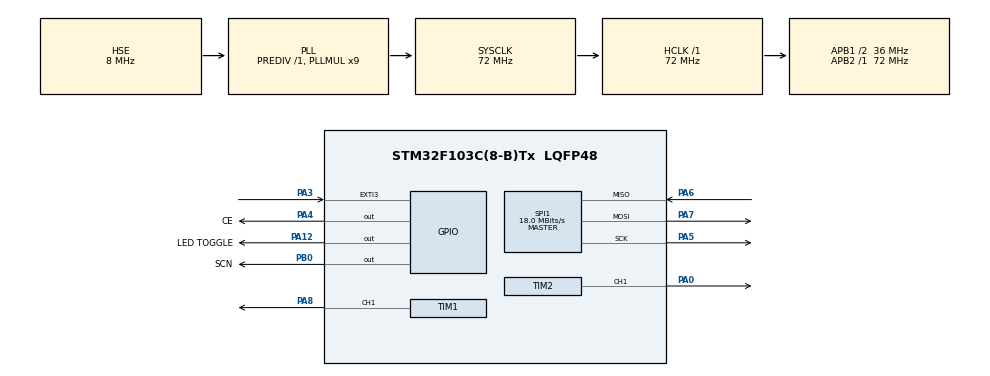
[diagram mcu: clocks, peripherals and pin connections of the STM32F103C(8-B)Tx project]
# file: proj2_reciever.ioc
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Mcu.Family=STM32F1
Mcu.Name=STM32F103C(8-B)Tx
Mcu.Package=LQFP48
NVIC.EXTI3_IRQn=true\:0\:0\:false\:false\:true\:true\:true
NVIC.PriorityGroup=NVIC_PRIORITYGROUP_4
PA0-WKUP.Signal=S_TIM2_CH1_ETR
PA12.GPIO_Label=LED TOGGLE
PA12.Signal=GPIO_Output
PA13.Mode=Trace_Asynchronous_SW
PA13.Signal=SYS_JTMS-SWDIO
PA14.Mode=Trace_Asynchronous_SW
PA14.Signal=SYS_JTCK-SWCLK
PA3.GPIO_ModeDefaultEXTI=GPIO_MODE_IT_FALLING
PA3.Signal=GPXTI3
PA4.GPIO_Label=CE
PA4.Signal=GPIO_Output
PA5.Mode=Full_Duplex_Master
PA5.Signal=SPI1_SCK
PA6.Mode=Full_Duplex_Master
PA6.Signal=SPI1_MISO
PA7.Mode=Full_Duplex_Master
PA7.Signal=SPI1_MOSI
PA8.Signal=S_TIM1_CH1
PB0.GPIO_Label=SCN
PB0.Signal=GPIO_Output
PB3.Mode=Trace_Asynchronous_SW
PB3.Signal=SYS_JTDO-TRACESWO
PD0-OSC_IN.Mode=HSE-External-Oscillator
PD0-OSC_IN.Signal=RCC_OSC_IN
PD1-OSC_OUT.Mode=HSE-External-Oscillator
PD1-OSC_OUT.Signal=RCC_OSC_OUT
ProjectManager.HeapSize=0x200
ProjectManager.StackSize=0x400
ProjectManager.TargetToolchain=STM32CubeIDE
RCC.AHBFreq_Value=72000000
RCC.APB1CLKDivider=RCC_HCLK_DIV2
RCC.APB1Freq_Value=36000000
RCC.APB1TimFreq_Value=72000000
RCC.APB2Freq_Value=72000000
RCC.APB2TimFreq_Value=72000000
RCC.HCLKFreq_Value=72000000
RCC.PLLMUL=RCC_PLL_MUL9
RCC.PLLSourceVirtual=RCC_PLLSOURCE_HSE
RCC.SYSCLKFreq_VALUE=72000000
RCC.SYSCLKSource=RCC_SYSCLKSOURCE_PLLCLK
RCC.USBFreq_Value=72000000
SH.S_TIM1_CH1.0=TIM1_CH1,PWM Generation1 CH1
SH.S_TIM2_CH1_ETR.0=TIM2_CH1,PWM Generation1 CH1
SPI1.BaudRatePrescaler=SPI_BAUDRATEPRESCALER_4
SPI1.CalculateBaudRate=18.0 MBits/s
SPI1.Direction=SPI_DIRECTION_2LINES
SPI1.Mode=SPI_MODE_MASTER
SPI1.VirtualType=VM_MASTER
TIM1.Channel-PWM\ Generation1\ CH1=TIM_CHANNEL_1
TIM1.Prescaler=72-1
TIM2.Channel-PWM\ Generation1\ CH1=TIM_CHANNEL_1
TIM2.Prescaler=72-1
VP_TIM1_VS_ClockSourceINT.Mode=Internal
VP_TIM2_VS_ClockSourceINT.Mode=Internal
board=custom

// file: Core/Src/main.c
/* USER CODE BEGIN Header */
/**
  ******************************************************************************
  * @file           : main.c
  * @brief          : Main program body
  ******************************************************************************
  * @attention
  *
  * <h2><center>&copy; Copyright (c) 2024 STMicroelectronics.
  * All rights reserved.</center></h2>
  *
  * This software component is licensed by ST under BSD 3-Clause license,
  * the "License"; You may not use this file except in compliance with the
  * License. You may obtain a copy of the License at:
  *                        opensource.org/licenses/BSD-3-Clause
  *
  ******************************************************************************
  */
/* USER CODE END Header */
#include "main.h"
#include "spi.h"
#include "tim.h"
#include "gpio.h"

/* USER CODE BEGIN Includes */
#include "nrf24l01p.h"
/* USER CODE END Includes */

/* USER CODE BEGIN PD */
#define RECEIVER
/* USER CODE END PD */

/* USER CODE BEGIN PV */
uint8_t rx_data[NRF24L01P_PAYLOAD_LENGTH] = {0,0,0,0,0,0,0,0};
uint8_t temp = 0;
/* USER CODE END PV */

void SystemClock_Config(void);
/* USER CODE BEGIN PFP */
void HAL_GPIO_EXTI_Callback(uint16_t GPIO_Pin);
/* USER CODE END PFP */

int main(void)
{

  /* MCU Configuration--------------------------------------------------------*/

  /* Reset of all peripherals, Initializes the Flash interface and the Systick. */
  HAL_Init();

  /* Configure the system clock */
  SystemClock_Config();

  /* Initialize all configured peripherals */
  MX_GPIO_Init();
  MX_SPI1_Init();
  MX_TIM2_Init();
  MX_TIM1_Init();
  /* USER CODE BEGIN 2 */
  nrf24l01p_reset();
  HAL_TIM_PWM_Start(&htim1, TIM_CHANNEL_1);

  nrf24l01p_rx_init(2500, _1Mbps);

  /* USER CODE END 2 */

  /* Infinite loop */
  while (1)
  {

    /* USER CODE BEGIN 3 */
	  temp = rx_data[0];
      TIM2->CCR1 = (temp<<4);
      HAL_Delay(100);
  }
  /* USER CODE END 3 */
}

void SystemClock_Config(void)
{
  RCC_OscInitTypeDef RCC_OscInitStruct = {0};
  RCC_ClkInitTypeDef RCC_ClkInitStruct = {0};

  /** Initializes the RCC Oscillators according to the specified parameters
  * in the RCC_OscInitTypeDef structure.
  */
  RCC_OscInitStruct.OscillatorType = RCC_OSCILLATORTYPE_HSE;
  RCC_OscInitStruct.HSEState = RCC_HSE_ON;
  RCC_OscInitStruct.HSEPredivValue = RCC_HSE_PREDIV_DIV1;
  RCC_OscInitStruct.HSIState = RCC_HSI_ON;
  RCC_OscInitStruct.PLL.PLLState = RCC_PLL_ON;
  RCC_OscInitStruct.PLL.PLLSource = RCC_PLLSOURCE_HSE;
  RCC_OscInitStruct.PLL.PLLMUL = RCC_PLL_MUL9;
  if (HAL_RCC_OscConfig(&RCC_OscInitStruct) != HAL_OK)
  {
    Error_Handler();
  }
  /** Initializes the CPU, AHB and APB buses clocks
  */
  RCC_ClkInitStruct.ClockType = RCC_CLOCKTYPE_HCLK|RCC_CLOCKTYPE_SYSCLK
                              |RCC_CLOCKTYPE_PCLK1|RCC_CLOCKTYPE_PCLK2;
  RCC_ClkInitStruct.SYSCLKSource = RCC_SYSCLKSOURCE_PLLCLK;
  RCC_ClkInitStruct.AHBCLKDivider = RCC_SYSCLK_DIV1;
  RCC_ClkInitStruct.APB1CLKDivider = RCC_HCLK_DIV2;
  RCC_ClkInitStruct.APB2CLKDivider = RCC_HCLK_DIV1;

  if (HAL_RCC_ClockConfig(&RCC_ClkInitStruct, FLASH_LATENCY_2) != HAL_OK)
  {
    Error_Handler();
  }
}

/* USER CODE BEGIN 4 */
void HAL_GPIO_EXTI_Callback(uint16_t GPIO_Pin)
{
	if(GPIO_Pin == NRF24L01P_IRQ_PIN_NUMBER)
	{

	    HAL_GPIO_TogglePin(GPIOA, GPIO_PIN_12);
	    nrf24l01p_rx_receive(rx_data);
	}

}
/* USER CODE END 4 */

void Error_Handler(void)
{
  __disable_irq();
  while (1)
  {
  }
}

/************************ (C) COPYRIGHT STMicroelectronics *****END OF FILE****/
